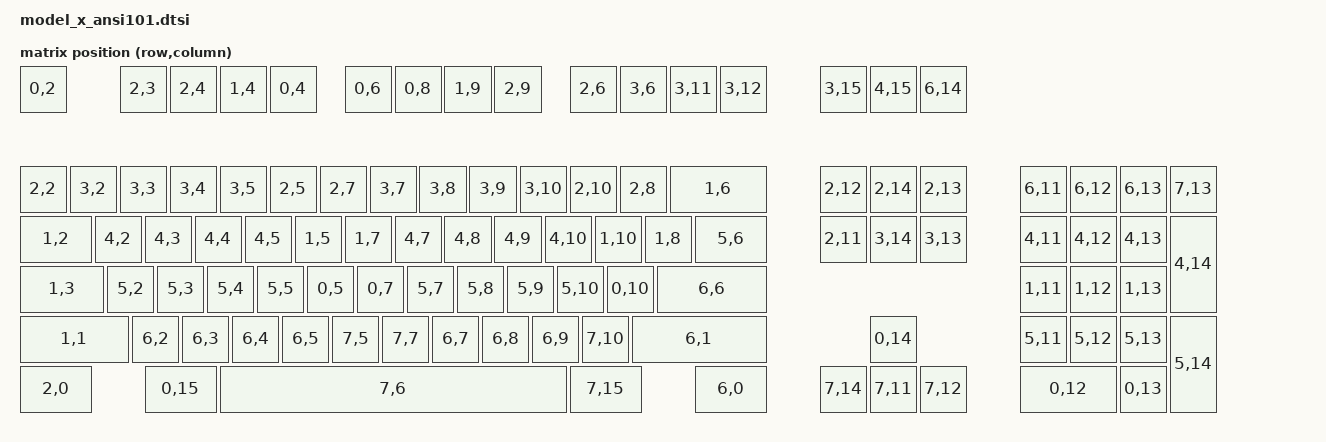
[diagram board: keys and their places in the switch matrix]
#include <dt-bindings/zmk/matrix_transform.h>
#include <physical_layouts.dtsi>

/ {

    ansi101_ph_layout: ansi101_ph_layout {
        compatible = "zmk,physical-layout";
        display-name = "ANSI 101";
        transform = <&ansi101_matrix_transform>;
        kscan = <&unified_kscan>;
        
        
        keys  //                     w   h    x    y     rot    rx    ry
            = <&key_physical_attrs 100 100    0    0       0     0     0>
            , <&key_physical_attrs 100 100  200    0       0     0     0>
            , <&key_physical_attrs 100 100  300    0       0     0     0>
            , <&key_physical_attrs 100 100  400    0       0     0     0>
            , <&key_physical_attrs 100 100  500    0       0     0     0>
            , <&key_physical_attrs 100 100  650    0       0     0     0>
            , <&key_physical_attrs 100 100  750    0       0     0     0>
            , <&key_physical_attrs 100 100  850    0       0     0     0>
            , <&key_physical_attrs 100 100  950    0       0     0     0>
            , <&key_physical_attrs 100 100  1100   0       0     0     0>
            , <&key_physical_attrs 100 100  1200   0       0     0     0>
            , <&key_physical_attrs 100 100  1300   0       0     0     0>
            , <&key_physical_attrs 100 100  1400   0       0     0     0>
            , <&key_physical_attrs 100 100  1600   0       0     0     0>
            , <&key_physical_attrs 100 100  1700   0       0     0     0>
            , <&key_physical_attrs 100 100  1800   0       0     0     0>

            , <&key_physical_attrs 100 100    0    200     0     0     0>
            , <&key_physical_attrs 100 100  100    200     0     0     0>
            , <&key_physical_attrs 100 100  200    200     0     0     0>
            , <&key_physical_attrs 100 100  300    200     0     0     0>
            , <&key_physical_attrs 100 100  400    200     0     0     0>
            , <&key_physical_attrs 100 100  500    200     0     0     0>
            , <&key_physical_attrs 100 100  600    200     0     0     0>
            , <&key_physical_attrs 100 100  700    200     0     0     0>
            , <&key_physical_attrs 100 100  800    200     0     0     0>
            , <&key_physical_attrs 100 100  900    200     0     0     0>
            , <&key_physical_attrs 100 100  1000   200     0     0     0>
            , <&key_physical_attrs 100 100  1100   200     0     0     0>
            , <&key_physical_attrs 100 100  1200   200     0     0     0>
            , <&key_physical_attrs 200 100  1300   200     0     0     0>
            , <&key_physical_attrs 100 100  1600   200     0     0     0>
            , <&key_physical_attrs 100 100  1700   200     0     0     0>
            , <&key_physical_attrs 100 100  1800   200     0     0     0>
            , <&key_physical_attrs 100 100  2000   200     0     0     0>
            , <&key_physical_attrs 100 100  2100   200     0     0     0>
            , <&key_physical_attrs 100 100  2200   200     0     0     0>
            , <&key_physical_attrs 100 100  2300   200     0     0     0>

            , <&key_physical_attrs 150 100    0    300     0     0     0>
            , <&key_physical_attrs 100 100  150    300     0     0     0>
            , <&key_physical_attrs 100 100  250    300     0     0     0>
            , <&key_physical_attrs 100 100  350    300     0     0     0>
            , <&key_physical_attrs 100 100  450    300     0     0     0>
            , <&key_physical_attrs 100 100  550    300     0     0     0>
            , <&key_physical_attrs 100 100  650    300     0     0     0>
            , <&key_physical_attrs 100 100  750    300     0     0     0>
            , <&key_physical_attrs 100 100  850    300     0     0     0>
            , <&key_physical_attrs 100 100  950    300     0     0     0>
            , <&key_physical_attrs 100 100  1050   300     0     0     0>
            , <&key_physical_attrs 100 100  1150   300     0     0     0>
            , <&key_physical_attrs 100 100  1250   300     0     0     0>
            , <&key_physical_attrs 150 100  1350   300     0     0     0>
            , <&key_physical_attrs 100 100  1600   300     0     0     0>
            , <&key_physical_attrs 100 100  1700   300     0     0     0>
            , <&key_physical_attrs 100 100  1800   300     0     0     0>
            , <&key_physical_attrs 100 100  2000   300     0     0     0>
            , <&key_physical_attrs 100 100  2100   300     0     0     0>
            , <&key_physical_attrs 100 100  2200   300     0     0     0>
            , <&key_physical_attrs 100 200  2300   300     0     0     0>

            , <&key_physical_attrs 175 100    0    400     0     0     0>
            , <&key_physical_attrs 100 100  175    400     0     0     0>
            , <&key_physical_attrs 100 100  275    400     0     0     0>
            , <&key_physical_attrs 100 100  375    400     0     0     0>
            , <&key_physical_attrs 100 100  475    400     0     0     0>
            , <&key_physical_attrs 100 100  575    400     0     0     0>
            , <&key_physical_attrs 100 100  675    400     0     0     0>
            , <&key_physical_attrs 100 100  775    400     0     0     0>
            , <&key_physical_attrs 100 100  875    400     0     0     0>
            , <&key_physical_attrs 100 100  975    400     0     0     0>
            , <&key_physical_attrs 100 100  1075   400     0     0     0>
            , <&key_physical_attrs 100 100  1175   400     0     0     0>
            , <&key_physical_attrs 225 100  1275   400     0     0     0>
            , <&key_physical_attrs 100 100  2000   400     0     0     0>
            , <&key_physical_attrs 100 100  2100   400     0     0     0>
            , <&key_physical_attrs 100 100  2200   400     0     0     0>

            , <&key_physical_attrs 225 100    0    500     0     0     0>
            , <&key_physical_attrs 100 100  225    500     0     0     0>
            , <&key_physical_attrs 100 100  325    500     0     0     0>
            , <&key_physical_attrs 100 100  425    500     0     0     0>
            , <&key_physical_attrs 100 100  525    500     0     0     0>
            , <&key_physical_attrs 100 100  625    500     0     0     0>
            , <&key_physical_attrs 100 100  725    500     0     0     0>
            , <&key_physical_attrs 100 100  825    500     0     0     0>
            , <&key_physical_attrs 100 100  925    500     0     0     0>
            , <&key_physical_attrs 100 100  1025   500     0     0     0>
            , <&key_physical_attrs 100 100  1125   500     0     0     0>
            , <&key_physical_attrs 275 100  1225   500     0     0     0>
            , <&key_physical_attrs 100 100  1700   500     0     0     0>
            , <&key_physical_attrs 100 100  2000   500     0     0     0>
            , <&key_physical_attrs 100 100  2100   500     0     0     0>
            , <&key_physical_attrs 100 100  2200   500     0     0     0>
            , <&key_physical_attrs 100 200  2300   500     0     0     0>

            , <&key_physical_attrs 150 100    0    600     0     0     0>
            , <&key_physical_attrs 150 100  250    600     0     0     0>
            , <&key_physical_attrs 700 100  400    600     0     0     0>
            , <&key_physical_attrs 150 100  1100   600     0     0     0>
            , <&key_physical_attrs 150 100  1350   600     0     0     0>
            , <&key_physical_attrs 100 100  1600   600     0     0     0>
            , <&key_physical_attrs 100 100  1700   600     0     0     0>
            , <&key_physical_attrs 100 100  1800   600     0     0     0>
            , <&key_physical_attrs 200 100  2000   600     0     0     0>
            , <&key_physical_attrs 100 100  2200   600     0     0     0>
        ;
    };
    

    ansi101_matrix_transform: ansi101_matrix_transform {
        compatible = "zmk,matrix-transform";
        rows = <8>;
        columns = <16>;
        
        //  -------------------------------------------------------------------------------------------------------------------------
        //  | ESC   |       | F1    | F2    | F3    | F4    |   | F5    | F6    | F7    | F8    |   | F9    | F10   | F11   | F12   |       |PRT SCR| SLCK  |PAU_BRK|
        //  |  `    |  1    |  2    |  3    |  4    |  5    |  6    |  7    |  8    |  9    |  0    |  -    |  =    |   BKSP        |       |INSERT | HOME  |PAGE_UP|       |BL_NUM | KP /  | KP *  | KP -  |
        //  |    TAB    |  Q    |  W    |  E    |  R    |  T    |  Y    |  U    |  I    |  O    |  P    |   [   |   ]   |   "|\"    |       |DELETE |  END  |PAGE_DW|       | KP_N7 | KP_N8 | KP_N9 | KP +  |
        //  | CAPS        |   A   |   S   |   D   |   F   |   G   |   H   |   J   |   K   |   L   |   ;   |   '   |      ENTER      |                                       | KP_N4 | KP_N5 | KP_N6 |(KP +) |
        //  |   LSHIFT        |   Z   |   X   |   C   |   V   |   B   |   N   |   M   |   ,   |   .   |   /   |        RSHIFT       |               |  UP   |               | KP_N1 | KP_N2 | KP_N3 | KPENT |
        //  |   CTRL    |       |    ALT    |                        SPACE                          |   ALTGR   |       |   CTRL    |       | LEFT  | DOWN  | RIGHT |       |     KP_N0     | KP .  |(KPENT)|
        //  -------------------------------------------------------------------------------------------------------------------------
        map = <
        //  -------------------------------------------------------------------------------------------------------------------------
        //  | ESC   |       | F1    | F2    | F3    | F4    |   | F5    | F6    | F7    | F8    |   | F9    | F10   | F11   | F12   |       |PRT SCR| SLCK  |PAU_BRK|
            RC(0,2)         RC(2,3) RC(2,4) RC(1,4) RC(0,4)     RC(0,6) RC(0,8) RC(1,9) RC(2,9)     RC(2,6) RC(3,6) RC(3,11) RC(3,12)      RC(3,15) RC(4,15) RC(6,14)

        //  |  `    |  1    |  2    |  3    |  4    |  5    |  6    |  7    |  8    |  9    |  0    |  -    |  =    |   BKSP        |       |INSERT | HOME  |PAGE_UP|       |BL_NUM | KP /  | KP *  | KP -  |
            RC(2,2) RC(3,2) RC(3,3) RC(3,4) RC(3,5) RC(2,5) RC(2,7) RC(3,7) RC(3,8) RC(3,9) RC(3,10) RC(2,10) RC(2,8)   RC(1,6)            RC(2,12) RC(2,14) RC(2,13)      RC(6,11) RC(6,12) RC(6,13) RC(7,13) 

        //  |    TAB    |  Q    |  W    |  E    |  R    |  T    |  Y    |  U    |  I    |  O    |  P    |   [   |   ]   |   "|\"    |       |DELETE |  END  |PAGE_DW|       | KP_N7 | KP_N8 | KP_N9 | KP +  |
               RC(1,2)  RC(4,2) RC(4,3) RC(4,4) RC(4,5) RC(1,5) RC(1,7) RC(4,7) RC(4,8) RC(4,9) RC(4,10) RC(1,10) RC(1,8) RC(5,6)          RC(2,11) RC(3,14) RC(3,13)      RC(4,11) RC(4,12) RC(4,13) RC(4,14) 

        //  | CAPS        |   A   |   S   |   D   |   F   |   G   |   H   |   J   |   K   |   L   |   ;   |   '   |      ENTER      |                                       | KP_N4 | KP_N5 | KP_N6 |(KP +) |
            RC(1,3)       RC(5,2) RC(5,3) RC(5,4) RC(5,5) RC(0,5) RC(0,7) RC(5,7) RC(5,8) RC(5,9) RC(5,10) RC(0,10)     RC(6,6)                                            RC(1,11) RC(1,12) RC(1,13) 

        //  |   LSHIFT        |   Z   |   X   |   C   |   V   |   B   |   N   |   M   |   ,   |   .   |   /   |        RSHIFT       |               |  UP   |               | KP_N1 | KP_N2 | KP_N3 | KPENT |
            RC(1,1)           RC(6,2) RC(6,3) RC(6,4) RC(6,5) RC(7,5) RC(7,7) RC(6,7) RC(6,8) RC(6,9) RC(7,10)          RC(6,1)                     RC(0,14)               RC(5,11) RC(5,12) RC(5,13) RC(5,14) 

        //  |   CTRL    |       |    ALT    |                        SPACE                          |   ALTGR   |       |   CTRL    |       | LEFT  | DOWN  | RIGHT |       |     KP_N0     | KP .  |(KPENT)|
            RC(2,0)                RC(0,15)                         RC(7,6)                            RC(7,15)            RC(6,0)         RC(7,14) RC(7,11) RC(7,12)            RC(0,12)    RC(0,13) 
        //  -------------------------------------------------------------------------------------------------------------------------
        >;
    };
    
};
